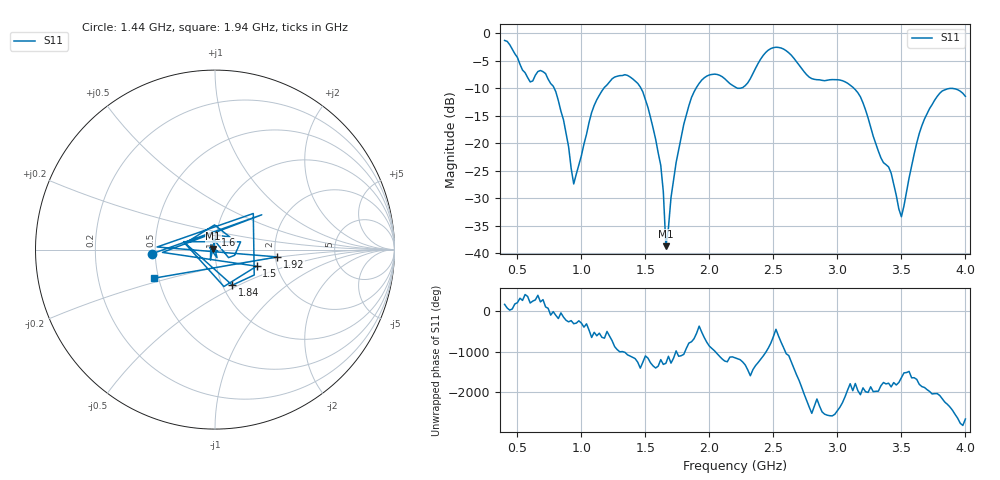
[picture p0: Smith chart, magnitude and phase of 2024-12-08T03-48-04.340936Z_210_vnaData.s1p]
!Created with skrf (http://scikit-rf.org).
# Hz S RI R 50.0
!freq ReS11 ImS11
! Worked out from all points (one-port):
!   181 points, 400 MHz to 4 GHz, reference 50 ohm
!   lowest |S11| = -38.7 dB at 1.66 GHz (marker M1), VSWR 1.02, Z = 48.9 + j0.459 ohm
!   |S11| at or under -10 dB: 787.5 MHz to 1.175 GHz (387.7 MHz wide, 39.5 % of centre); 1.465 GHz to 1.896 GHz (430.5 MHz wide, 25.6 % of centre); 3.129 GHz to end of sweep (the widest 3 of 4)
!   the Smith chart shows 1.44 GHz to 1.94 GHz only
!   S11 on the Smith chart (normalised r, x): 1.44 GHz: 0.48, -0.02; 1.5 GHz: 1.57, -0.31; 1.6 GHz: 1.00, +0.16; 1.84 GHz: 1.11, -0.46; 1.92 GHz: 2.05, -0.19; 1.94 GHz: 0.47, -0.17
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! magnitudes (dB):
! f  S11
! 400 MHz  -1.3
! 600 MHz  -8.8
! 720 MHz  -7.3
! 860 MHz  -15.7
! 940 MHz  -27.4
! 1.1 GHz  -13.1
! 1.3 GHz  -7.7
! 1.44 GHz  -9.1
! 1.5 GHz  -12.0
! 1.6 GHz  -21.7
! 1.64 GHz  -28.8
! 1.66 GHz  -38.7
! 1.76 GHz  -21.1
! 1.84 GHz  -13.1
! 1.92 GHz  -9.1
! 1.94 GHz  -8.5
! 2.2 GHz  -9.8
! 2.48 GHz  -2.8
! 2.66 GHz  -4.5
! 2.8 GHz  -8.2
! 3.1 GHz  -9.4
! 3.18 GHz  -11.6
! 3.42 GHz  -25.4
! 3.5 GHz  -33.4
! 3.56 GHz  -26.3
! 3.66 GHz  -16.8
! 3.78 GHz  -11.5
! 4 GHz  -11.5
